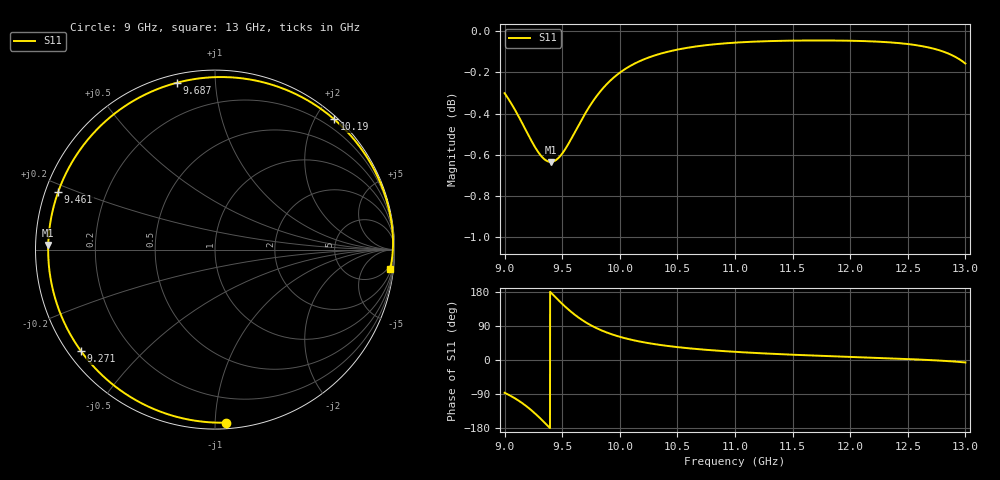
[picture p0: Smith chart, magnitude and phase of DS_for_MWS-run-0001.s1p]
! TOUCHSTONE file generated by CST DESIGN STUDIO
! Date and time: Tue Feb  4 14:22:56 2025
! Project name: C:\Work\MatlabApps\UnitCellOptimizationMatlab\CST\unitcell.cst
! Tree item: Tasks\Sweep1\SPara1\S-Parameters
! Header version: 2024
! Port assignment regex: !\s*Touchstone port\s*([0-9]+)\s*=\s*(CST MWS port|CST DES external port|CST DES block port)\s*(.+)\s* \(\"(.*)\"\)(\s*mode\s*([0-9]+))?.*
! Touchstone port assignment:
! Touchstone port 1 = CST DES external port 1 ("")
# GHz S MA R 50
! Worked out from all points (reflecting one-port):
!   4001 points, 9 GHz to 13 GHz, reference 50 ohm
!   lowest |S11| = -0.6 dB at 9.4 GHz (marker M1), VSWR 27.37, Z = 1.83 + j0.683 ohm
!   phase of S11 starts at -86 deg and turns -280 deg over the sweep
!   S11 on the Smith chart (normalised r, x): 9 GHz: 0.04, -1.06; 9.271 GHz: 0.04, -0.33; 9.461 GHz: 0.04, +0.18; 9.687 GHz: 0.04, +0.80; 10.19 GHz: 0.05, +2.27; 13 GHz: 3, -17
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9  0.9659 -86.5
9.08  0.9581 -99.4
9.148  0.9504 -112.7
9.21  0.9431 -127.0
9.271  0.9365 -143.0
9.339  0.9312 -162.8
9.4  0.9295 178.4
9.461  0.9312 159.7
9.5  0.9339 148.2
9.546  0.9381 135.3
9.591  0.943 123.8
9.637  0.9482 113.1
9.687  0.9537 102.7
9.756  0.9606 90.5
9.838  0.9675 78.6
9.916  0.9727 69.3
10  0.9771 61.2
10.091  0.9808 54.1
10.193  0.984 47.5
10.334  0.9872 40.4
10.5  0.9898 34.0
10.723  0.9921 27.5
11  0.9937 21.6
11.5  0.9948 14.0
12  0.9947 8.2
12.5  0.9929 2.5
12.781  0.9893 -1.6
13  0.9821 -6.4
